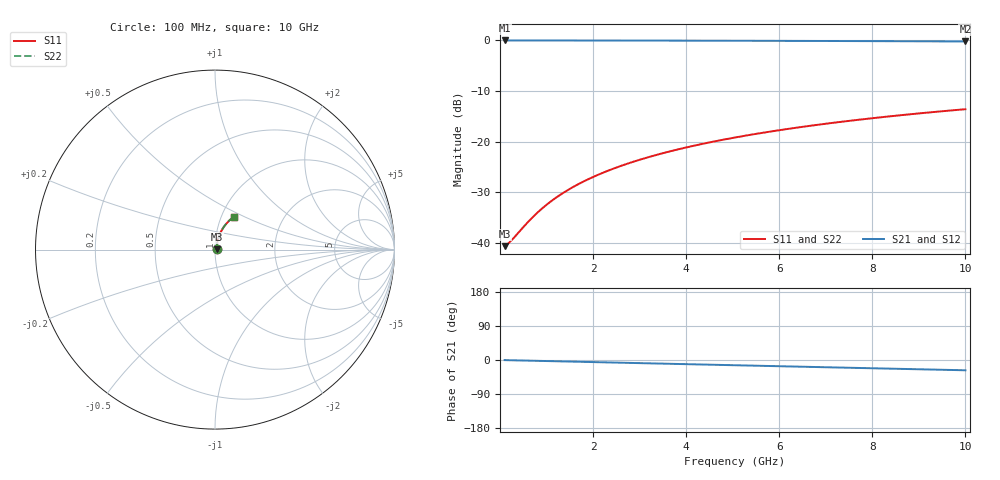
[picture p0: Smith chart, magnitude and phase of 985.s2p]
# Hz S RI R 50.00
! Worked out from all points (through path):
!   100 points, 100 MHz to 10 GHz, reference 50 ohm
!   highest |S21| = -0.08 dB at 100 MHz (marker M1); lowest = -0.3 dB at 10 GHz (marker M2)
!   group delay of S21, straight-line fit = 7.54 ps
!   lowest |S11| = -40.6 dB at 100 MHz (marker M3), VSWR 1.02, Z = 50.9 + j0.219 ohm
!   |S11| at or under -10 dB: start of sweep to end of sweep
!   |S22| runs from -40.6 to -13.6 dB; largest |S21 - S12| = 0
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1e8  0.00905 0.00215  0.9909 -0.00475  0.9909 -0.00475  0.00905 0.00215
2e8  0.00914 0.00429  0.9908 -0.0095  0.9908 -0.0095  0.00914 0.00429
3e8  0.00924 0.00644  0.9907 -0.0143  0.9907 -0.0143  0.00924 0.00644
5e8  0.00947 0.0107  0.9904 -0.0237  0.9904 -0.0237  0.00947 0.0107
7e8  0.00976 0.015  0.9901 -0.0332  0.9901 -0.0332  0.00976 0.015
8e8  0.00994 0.0171  0.9898 -0.038  0.9898 -0.038  0.00994 0.0171
1e9  0.0103 0.0214  0.9893 -0.0475  0.9893 -0.0475  0.0103 0.0214
1.2e9  0.0108 0.0257  0.9886 -0.0569  0.9886 -0.0569  0.0108 0.0257
1.4e9  0.0114 0.0299  0.9879 -0.0664  0.9879 -0.0664  0.0114 0.0299
1.6e9  0.012 0.0342  0.987 -0.0758  0.987 -0.0758  0.012 0.0342
1.8e9  0.0128 0.0384  0.9861 -0.0853  0.9861 -0.0853  0.0128 0.0384
2.1e9  0.014 0.0447  0.9845 -0.0994  0.9845 -0.0994  0.014 0.0447
2.5e9  0.0159 0.053  0.9819 -0.1182  0.9819 -0.1182  0.0159 0.053
2.9e9  0.0181 0.0613  0.9789 -0.1368  0.9789 -0.1368  0.0181 0.0613
3.4e9  0.0214 0.0715  0.9746 -0.16  0.9746 -0.16  0.0214 0.0715
4.2e9  0.0275 0.0874  0.9664 -0.1968  0.9664 -0.1968  0.0275 0.0874
5.1e9  0.0358 0.1046  0.9551 -0.2375  0.9551 -0.2375  0.0358 0.1046
5.9e9  0.0444 0.1192  0.9435 -0.2729  0.9435 -0.2729  0.0444 0.1192
6.7e9  0.054 0.1331  0.9304 -0.3077  0.9304 -0.3077  0.054 0.1331
7.5e9  0.0646 0.1461  0.9158 -0.3415  0.9158 -0.3415  0.0646 0.1461
8.4e9  0.0776 0.1597  0.8978 -0.3786  0.8978 -0.3786  0.0776 0.1597
1e10  0.1031 0.1808  0.8619 -0.4415  0.8619 -0.4415  0.1031 0.1808
